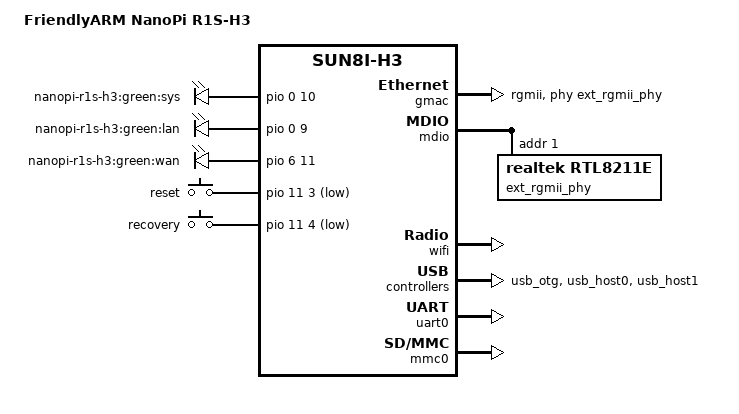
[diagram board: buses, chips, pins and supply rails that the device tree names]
/dts-v1/;
/include/ "sun8i-h3.dtsi"
/include/ "sun8i-h3-nanopi.dtsi"

/ {
    model = "FriendlyARM NanoPi R1S-H3";
    compatible = "friendlyarm,nanopi-r1s-h3", "allwinner,sun8i-h3";

    chosen {
        bootargs = "console=ttyS0,115200";
    };

    aliases {
        ethernet0 = &gmac;
        serial0   = &uart0;
        mmc0      = &mmc0;
        wifi0     = &wifi;
    };

    leds {
        compatible = "gpio-leds";

        sys {
            label = "nanopi-r1s-h3:green:sys";
            gpios = <&pio 0 10 GPIO_ACTIVE_HIGH>; /* PA10 */
            default-state = "on";
        };

        lan {
            label = "nanopi-r1s-h3:green:lan";
            gpios = <&pio 0 9 GPIO_ACTIVE_HIGH>;  /* PA9 */
        };

        wan {
            label = "nanopi-r1s-h3:green:wan";
            gpios = <&pio 6 11 GPIO_ACTIVE_HIGH>; /* PG11 */
        };
    };

    keys {
        compatible = "gpio-keys";

        reset {
            label = "reset";
            gpios = <&pio 11 3 GPIO_ACTIVE_LOW>;  /* PL3 */
            linux,code = <KEY_RESTART>;
        };

        recovery {
            label = "recovery";
            gpios = <&pio 11 4 GPIO_ACTIVE_LOW>;  /* PL4 */
            linux,code = <KEY_RESERVED>;
        };
    };
};

/* 板载千兆 GMAC + RTL8211E PHY */
&gmac {
    phy-mode = "rgmii";
    phy-handle = <&ext_rgmii_phy>;
    tx-delay = <4>;
    rx-delay = <4>;
    status = "okay";
};

&mdio {
    ext_rgmii_phy: ethernet-phy@1 {
        reg = <1>;
        compatible = "realtek,rtl8211e";
        tx-delay = <4>;
        rx-delay = <4>;
    };
};

/* WiFi 模块（AP6212 / BCM43430） */
&wifi {
    status = "okay";
};

/* USB Host 控制器（用于 RTL8153 网卡） */
&usb_otg {
    status = "okay";
};

&usb_host0 {
    status = "okay";
};

&usb_host1 {
    status = "okay";
};

/* UART0 控制台 */
&uart0 {
    status = "okay";
};

/* TF 卡 */
&mmc0 {
    status = "okay";
};
